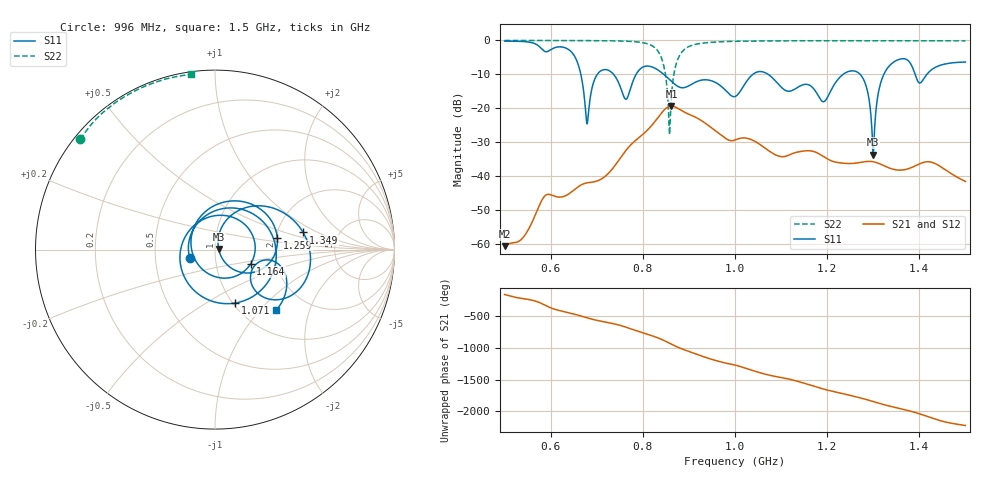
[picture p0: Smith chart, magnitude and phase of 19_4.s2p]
! TOUCHSTONE file generated by CST MICROWAVE STUDIO
! Date and time: Sat Nov 14 20:00:48 2020
! Project name: Scenario_1_Planar_Body_Tissue_Out_of_Line.cst
! Parameters = {dy1=34.6; L_HA=400; Ltissue=700; MT=2.54; Rad_Dielectric=30; Rad_Lower=7.3; Rad_Upper=30; Wtissue=700; a_HA=580; a_WG=246; b_HA=500; b_WG=121; c_HA=0; c_WG=187; d_feed=85; dx1=693; h_feed=15; h_lower=18; h_upper=40; hfat=3; hgap=25; hmuscle=50; hskin=1.5}
! Header version: 2018
! Port assignment regex: !\s*Touchstone port\s*([0-9]+)\s*=\s*(CST MWS port|CST DS port)\s*([0-9]+|Zmin|Zmax)\s*\(\"(.*)\"\)(\s*mode\s*([0-9]+))?.*
! Touchstone port assignment:
! Touchstone port 1 = CST MWS port 1 ("")
! Touchstone port 2 = CST MWS port 2 ("")
# GHz S DB R 50
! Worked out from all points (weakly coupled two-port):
!   1003 points, 500 MHz to 1.5 GHz, reference 50 ohm
!   highest |S21| = -19.40 dB at 862 MHz (marker M1); lowest = -60.8 dB at 500 MHz (marker M2)
!   lowest |S11| = -33.7 dB at 1.3 GHz (marker M3), VSWR 1.04, Z = 52.1 + j0.399 ohm
!   |S11| at or under -10 dB: 845.2 MHz to 1.039 GHz (193.8 MHz wide, 20.6 % of centre); 1.072 GHz to 1.235 GHz (163.2 MHz wide, 14.1 % of centre); 1.271 GHz to 1.323 GHz (51.67 MHz wide, 3.98 % of centre)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
!   |S22| runs from -27.8 to 0.0 dB; largest |S21 - S12| = 2.1e-06
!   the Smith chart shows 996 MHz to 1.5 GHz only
!   S11 on the Smith chart (normalised r, x): 996 MHz: 0.75, -0.07; 1.071 GHz: 1.03, -0.68; 1.164 GHz: 1.47, -0.25; 1.259 GHz: 2.03, +0.31; 1.349 GHz: 2.80, +0.71; 1.5 GHz: 1.41, -1.23
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0.5  -0.21 -121.5  -60.78 -170.5  -60.78 -170.5  -0.01 151.1
0.622  -1.90 173.1  -46.27 -66.2  -46.27 -66.2  -0.03 142.4
0.667  -11.06 96.6  -42.62 -150.7  -42.62 -150.7  -0.04 138.4
0.679  -24.65 145.9  -42.08 -176.7  -42.08 -176.7  -0.05 137.2
0.709  -8.96 161.4  -41.02 133.1  -41.02 133.1  -0.08 133.7
0.777  -12.65 -120.7  -30.42 5.6  -30.42 5.6  -0.32 121.2
0.8  -7.88 155.4  -27.74 -49.1  -27.74 -49.1  -0.67 112.6
0.834  -8.84 58.5  -22.59 -132.2  -22.59 -132.2  -3.40 83.7
0.862  -12.07 -29.7  -19.40 132.5  -19.40 132.5  -16.61 -129.6
0.889  -13.95 -139.0  -21.10 47.7  -21.10 47.7  -2.80 177.6
0.95  -11.97 5.3  -25.92 -105.6  -25.92 -105.6  -0.54 148.9
0.996  -16.59 -161.6  -29.58 173.1  -29.58 173.1  -0.27 140.7
1  -16.57 177.4  -29.41 166.7  -29.41 166.7  -0.26 140.2
1.071  -9.94 -69.0  -32.38 14.1  -32.38 14.1  -0.14 132.3
1.164  -13.40 -22.1  -32.62 -149.3  -32.62 -149.3  -0.09 124.4
1.167  -13.73 -32.4  -32.69 -156.2  -32.69 -156.2  -0.09 124.2
1.202  -16.49 151.4  -35.11 131.3  -35.11 131.3  -0.09 121.5
1.259  -9.04 11.0  -36.30 36.3  -36.30 36.3  -0.09 117.2
1.3  -33.71 10.7  -35.84 -45.9  -35.84 -45.9  -0.08 114.1
1.334  -7.67 32.4  -37.65 -113.8  -37.65 -113.8  -0.09 111.5
1.349  -6.01 11.0  -38.23 -139.4  -38.23 -139.4  -0.09 110.3
1.5  -6.38 -44.7  -41.65 -58.9  -41.65 -58.9  -0.12 97.9
